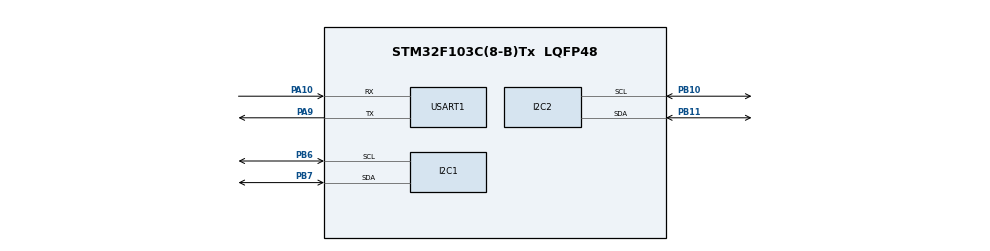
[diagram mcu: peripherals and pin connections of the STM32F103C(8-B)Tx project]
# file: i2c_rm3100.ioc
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I2C1.I2C_Mode=I2C_Standard
Mcu.Family=STM32F1
Mcu.Name=STM32F103C(8-B)Tx
Mcu.Package=LQFP48
NVIC.PriorityGroup=NVIC_PRIORITYGROUP_4
PA10.Mode=Asynchronous
PA10.Signal=USART1_RX
PA13.Mode=Serial_Wire
PA13.Signal=SYS_JTMS-SWDIO
PA14.Mode=Serial_Wire
PA14.Signal=SYS_JTCK-SWCLK
PA9.Mode=Asynchronous
PA9.Signal=USART1_TX
PB10.Mode=I2C
PB10.Signal=I2C2_SCL
PB11.Mode=I2C
PB11.Signal=I2C2_SDA
PB6.Mode=I2C
PB6.Signal=I2C1_SCL
PB7.Mode=I2C
PB7.Signal=I2C1_SDA
ProjectManager.HeapSize=0x200
ProjectManager.StackSize=0x400
ProjectManager.TargetToolchain=STM32CubeIDE
RCC.APB1Freq_Value=8000000
RCC.APB2Freq_Value=8000000
USART1.VirtualMode=VM_ASYNC
board=custom

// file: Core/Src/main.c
/* USER CODE BEGIN Header */
/**
  ******************************************************************************
  * @file           : main.c
  * @brief          : Main program body
  ******************************************************************************
  * @attention
  *
  * Copyright (c) 2024 STMicroelectronics.
  * All rights reserved.
  *
  * This software is licensed under terms that can be found in the LICENSE file
  * in the root directory of this software component.
  * If no LICENSE file comes with this software, it is provided AS-IS.
  *
  ******************************************************************************
  */
/* USER CODE END Header */
#include "main.h"
#include "rm3100.h"
#include "stdio.h"
#include "string.h"

I2C_HandleTypeDef hi2c1;
I2C_HandleTypeDef hi2c2;

UART_HandleTypeDef huart1;

void SystemClock_Config(void);
static void MX_GPIO_Init(void);
static void MX_I2C1_Init(void);
static void MX_I2C2_Init(void);
static void MX_USART1_UART_Init(void);

int main(void)
{

  /* MCU Configuration--------------------------------------------------------*/

  /* Reset of all peripherals, Initializes the Flash interface and the Systick. */
  HAL_Init();

  /* Configure the system clock */
  SystemClock_Config();

  /* USER CODE BEGIN SysInit */
  // __HAL_RCC_I2C1_CLK_ENABLE();
  // __HAL_RCC_I2C2_CLK_ENABLE();
  __HAL_RCC_DMA1_CLK_ENABLE();
  /* USER CODE END SysInit */

  /* Initialize all configured peripherals */
  MX_GPIO_Init();
  MX_I2C1_Init();
  MX_USART1_UART_Init();
  MX_I2C2_Init();
  /* USER CODE BEGIN 2 */
  RM3100_Init(i2c1_RM3100_ADDRESS_1, hi2c1);
  //RM3100_Init(i2c1_RM3100_ADDRESS_2,hi2c1);
  RM3100_Init(i2c1_RM3100_ADDRESS_2, hi2c1);
  RM3100_Init(i2c1_RM3100_ADDRESS_3, hi2c1);
  RM3100_Init(i2c1_RM3100_ADDRESS_4, hi2c1);
  //RM3100_Init(i2c2_RM3100_ADDRESS_1, hi2c2);

  short hx1,hy1,hz1 = 0;
  char data_string1[100];
  short hx2,hy2,hz2 = 0;
  char data_string2[100];
  short hx3,hy3,hz3 = 0;
  char data_string3[100];
  short hx4,hy4,hz4 = 0;
  char data_string4[100];
  short hx5,hy5,hz5 = 0;
  char data_string5[100];
  /* USER CODE END 2 */

  /* Infinite loop */
  while (1)
  {
    /* USER CODE END WHILE */
    RM3100_GetData(i2c1_RM3100_ADDRESS_1, &hx1, &hy1, &hz1, hi2c1);
    RM3100_GetData(i2c1_RM3100_ADDRESS_2, &hx2, &hy2, &hz2, hi2c1);
    RM3100_GetData(i2c1_RM3100_ADDRESS_3, &hx3, &hy3, &hz3, hi2c1);
    RM3100_GetData(i2c1_RM3100_ADDRESS_4, &hx4, &hy4, &hz4, hi2c1);
    //RM3100_GetData(i2c2_RM3100_ADDRESS_1, &hx5, &hy5, &hz5, hi2c2);
    //RM3100_GetData(i2c2_RM3100_ADDRESS_1, &hx2, &hy2, &hz2,hi2c2);

    snprintf(data_string1, sizeof(data_string1), "1_RM3100 Mag Data: mx=%d; my=%d; mz=%d;\r\n", hx1, hy1, hz1);
    snprintf(data_string2, sizeof(data_string2), "2_RM3100 Mag Data: mx=%d; my=%d; mz=%d;\r\n", hx2, hy2, hz2);
    snprintf(data_string3, sizeof(data_string3), "3_RM3100 Mag Data: mx=%d; my=%d; mz=%d;\r\n", hx3, hy3, hz3);
    snprintf(data_string4, sizeof(data_string4), "4_RM3100 Mag Data: mx=%d; my=%d; mz=%d;\r\n", hx4, hy4, hz4);
    //snprintf(data_string5, sizeof(data_string4), "5_RM3100 Mag Data: mx=%d; my=%d; mz=%d;\r\n", hx5, hy5, hz5);

    HAL_UART_Transmit(&huart1, (uint8_t *)data_string1, strlen(data_string1), HAL_MAX_DELAY);
    HAL_UART_Transmit(&huart1, (uint8_t *)data_string2, strlen(data_string2), HAL_MAX_DELAY);
    HAL_UART_Transmit(&huart1, (uint8_t *)data_string3, strlen(data_string3), HAL_MAX_DELAY);
    HAL_UART_Transmit(&huart1, (uint8_t *)data_string4, strlen(data_string4), HAL_MAX_DELAY);
    //HAL_UART_Transmit(&huart1, (uint8_t *)data_string5, strlen(data_string5), HAL_MAX_DELAY);

    HAL_Delay(1000);
    /* USER CODE BEGIN 3 */
    /* USER CODE BEGIN 3 */
  }
  /* USER CODE END 3 */
}

void SystemClock_Config(void)
{
  RCC_OscInitTypeDef RCC_OscInitStruct = {0};
  RCC_ClkInitTypeDef RCC_ClkInitStruct = {0};

  /** Initializes the RCC Oscillators according to the specified parameters
  * in the RCC_OscInitTypeDef structure.
  */
  RCC_OscInitStruct.OscillatorType = RCC_OSCILLATORTYPE_HSI;
  RCC_OscInitStruct.HSIState = RCC_HSI_ON;
  RCC_OscInitStruct.HSICalibrationValue = RCC_HSICALIBRATION_DEFAULT;
  RCC_OscInitStruct.PLL.PLLState = RCC_PLL_NONE;
  if (HAL_RCC_OscConfig(&RCC_OscInitStruct) != HAL_OK)
  {
    Error_Handler();
  }

  /** Initializes the CPU, AHB and APB buses clocks
  */
  RCC_ClkInitStruct.ClockType = RCC_CLOCKTYPE_HCLK|RCC_CLOCKTYPE_SYSCLK
                              |RCC_CLOCKTYPE_PCLK1|RCC_CLOCKTYPE_PCLK2;
  RCC_ClkInitStruct.SYSCLKSource = RCC_SYSCLKSOURCE_HSI;
  RCC_ClkInitStruct.AHBCLKDivider = RCC_SYSCLK_DIV1;
  RCC_ClkInitStruct.APB1CLKDivider = RCC_HCLK_DIV1;
  RCC_ClkInitStruct.APB2CLKDivider = RCC_HCLK_DIV1;

  if (HAL_RCC_ClockConfig(&RCC_ClkInitStruct, FLASH_LATENCY_0) != HAL_OK)
  {
    Error_Handler();
  }
}

static void MX_I2C1_Init(void)
{

  hi2c1.Instance = I2C1;
  hi2c1.Init.ClockSpeed = 100000;
  hi2c1.Init.DutyCycle = I2C_DUTYCYCLE_2;
  hi2c1.Init.OwnAddress1 = 0;
  hi2c1.Init.AddressingMode = I2C_ADDRESSINGMODE_7BIT;
  hi2c1.Init.DualAddressMode = I2C_DUALADDRESS_DISABLE;
  hi2c1.Init.OwnAddress2 = 0;
  hi2c1.Init.GeneralCallMode = I2C_GENERALCALL_DISABLE;
  hi2c1.Init.NoStretchMode = I2C_NOSTRETCH_DISABLE;
  if (HAL_I2C_Init(&hi2c1) != HAL_OK)
  {
    Error_Handler();
  }

}

static void MX_I2C2_Init(void)
{

  hi2c2.Instance = I2C2;
  hi2c2.Init.ClockSpeed = 100000;
  hi2c2.Init.DutyCycle = I2C_DUTYCYCLE_2;
  hi2c2.Init.OwnAddress1 = 0;
  hi2c2.Init.AddressingMode = I2C_ADDRESSINGMODE_7BIT;
  hi2c2.Init.DualAddressMode = I2C_DUALADDRESS_DISABLE;
  hi2c2.Init.OwnAddress2 = 0;
  hi2c2.Init.GeneralCallMode = I2C_GENERALCALL_DISABLE;
  hi2c2.Init.NoStretchMode = I2C_NOSTRETCH_DISABLE;
  if (HAL_I2C_Init(&hi2c2) != HAL_OK)
  {
    Error_Handler();
  }

}

static void MX_USART1_UART_Init(void)
{

  huart1.Instance = USART1;
  huart1.Init.BaudRate = 115200;
  huart1.Init.WordLength = UART_WORDLENGTH_8B;
  huart1.Init.StopBits = UART_STOPBITS_1;
  huart1.Init.Parity = UART_PARITY_NONE;
  huart1.Init.Mode = UART_MODE_TX_RX;
  huart1.Init.HwFlowCtl = UART_HWCONTROL_NONE;
  huart1.Init.OverSampling = UART_OVERSAMPLING_16;
  if (HAL_UART_Init(&huart1) != HAL_OK)
  {
    Error_Handler();
  }

}

static void MX_GPIO_Init(void)
{

  /* GPIO Ports Clock Enable */
  __HAL_RCC_GPIOB_CLK_ENABLE();
  __HAL_RCC_GPIOA_CLK_ENABLE();

}

void Error_Handler(void)
{
  __disable_irq();
  while (1)
  {
  }
}
